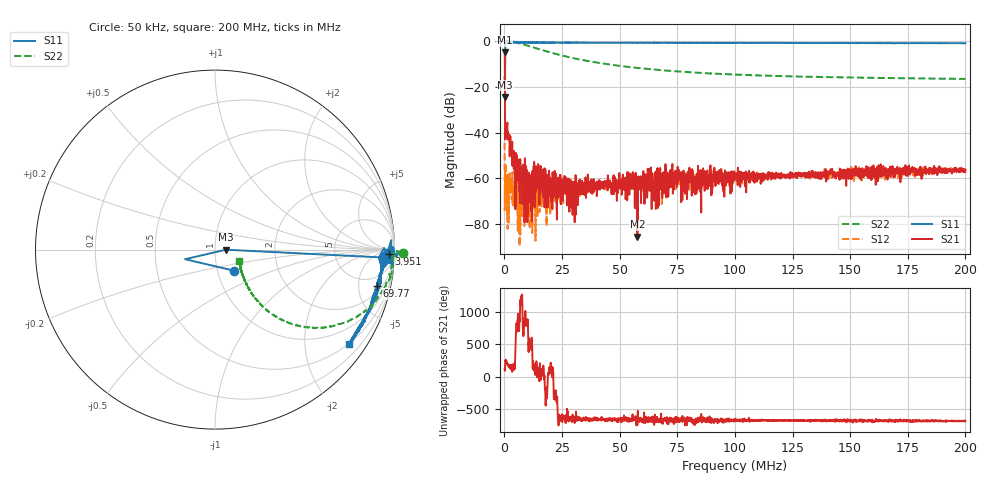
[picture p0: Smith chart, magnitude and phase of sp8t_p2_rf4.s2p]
! 26-Feb-26 11:33:38 AM
! E:\VNA_MEASUREMENTS\SP8T\SP8T_P2_RF4.S2P
! CHANNEL.1
! TR.MEASUREMENT
! CORRECTED.DATA
# GHZ S RI R 50.0
! FREQ.GHZ  S11RE  S11IM  S21RE  S21IM  S12RE  S12IM  S22RE  S22IM
!; PortSelection: Port_12
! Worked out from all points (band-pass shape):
!   2000 points, 50 kHz to 200 MHz, reference 50 ohm
!   highest |S21| = -4.75 dB at 50 kHz (marker M1); lowest = -85.6 dB at 57.66 MHz (marker M2)
!   |S21| within 3 dB of the highest: start of sweep to 156.5 kHz
!   lowest |S11| = -24.4 dB at 250 kHz (marker M3), VSWR 1.13, Z = 56.4 - j0.0627 ohm
!   |S11| at or under -10 dB: start of sweep to 309.3 kHz
!   |S22| runs from -16.5 to 0.4 dB; largest |S21 - S12| = 0.58
!   S11 on the Smith chart (normalised r, x): 50 kHz: 1.19, -0.29; 3.951 MHz: 37, -32; 69.77 MHz: 2.86, -8.03; 200 MHz: 0.50, -3.09
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5e-05  0.1032 -0.1168  -0.2206 0.5349  -0.00188 -0.00566  1.047 -0.0168
0.00025005  0.0606 -0.000553  -0.00627 0.00341  0.00109 -0.000753  1.003 -0.00788
0.0012503  0.9521 -0.0112  -0.0164 -0.00305  0.000625 0.000457  0.9931 -0.0843
0.003950975  0.9692 -0.0262  -0.00143 0.00151  -0.000428 0.000122  0.9304 -0.2288
0.006151526  0.9523 -0.0564  -0.00182 0.00118  -0.000244 0.000135  0.852 -0.3269
0.0108527  0.9408 -0.0251  -0.000823 -0.000422  -1.15e-05 0.000375  0.6589 -0.4247
0.01475368  0.9301 -0.0546  0.000967 0.000675  -0.00014 0.000172  0.5262 -0.4313
0.0220555  0.9351 -0.0696  0.000785 0.000397  8.38e-05 0.000566  0.3662 -0.3888
0.02425605  0.9231 -0.0885  0.000489 0.00109  -0.000112 0.000283  0.336 -0.3704
0.0300575  0.9332 -0.0969  0.000576 0.000606  0.000116 0.000346  0.276 -0.325
0.03345835  0.9298 -0.1029  0.000262 0.000371  0.00034 0.000485  0.2523 -0.3027
0.05476368  0.9184 -0.1588  0.000983 0.000694  0.000475 0.000471  0.1806 -0.204
0.05766441  0.9163 -0.1702  4.49e-05 -2.72e-05  0.000412 0.000472  0.1758 -0.1946
0.06186546  0.9109 -0.1916  0.000162 0.000339  0.000519 0.000636  0.1704 -0.1829
0.06476618  0.9021 -0.1848  0.000442 0.000109  0.000611 0.00106  0.1673 -0.1749
0.06676668  0.9137 -0.1992  0.0012 0.000182  0.000593 0.000562  0.1657 -0.1704
0.06976743  0.9027 -0.2023  0.000168 0.000691  0.0004 0.000401  0.1615 -0.163
0.08287071  0.8914 -0.2425  0.000526 0.000832  0.00042 0.00075  0.1539 -0.1399
0.100075  0.8865 -0.2844  0.000828 0.000784  0.000905 0.000701  0.146 -0.1176
0.1333833  0.8445 -0.3674  0.00108 0.000774  0.000794 0.000721  0.1404 -0.0917
0.1666917  0.7993 -0.4529  0.00117 0.000728  0.00119 0.000744  0.1381 -0.0761
0.2  0.7451 -0.5241  0.00136 0.000741  0.00143 0.000742  0.1353 -0.0643
